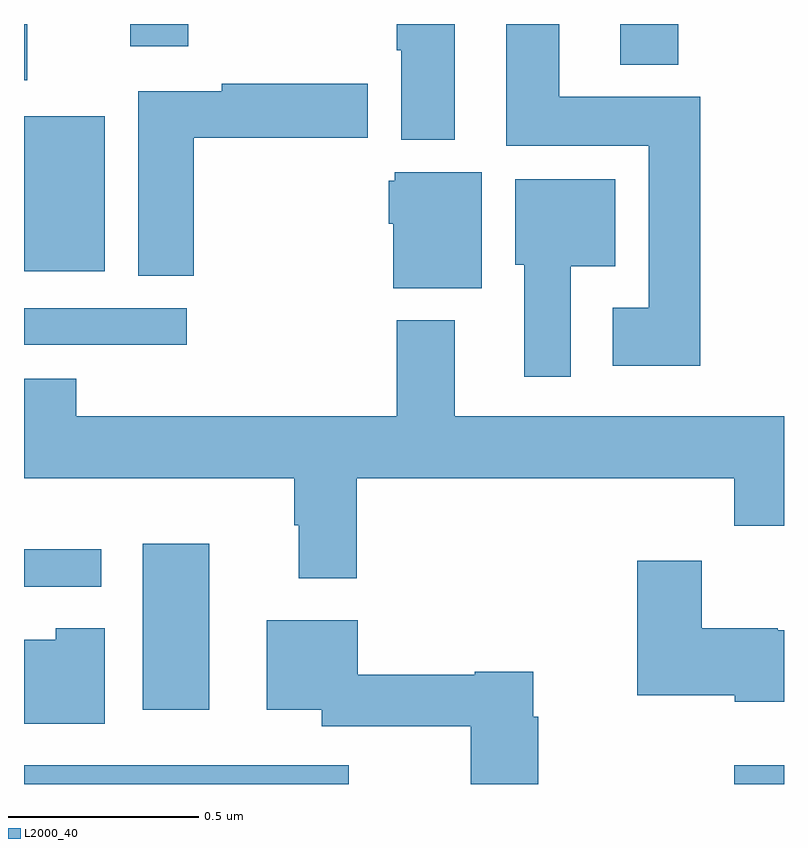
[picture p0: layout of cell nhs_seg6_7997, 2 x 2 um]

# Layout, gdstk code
import gdstk
lib = gdstk.Library(unit=1e-6, precision=1e-09)
def R(c, l, rs):  # rectangles x0, y0, x1, y1
    for r in rs: c.add(gdstk.rectangle(r[:2], r[2:], *l))
def P(c, l, *ps):  # polygons
    for p in ps: c.add(gdstk.Polygon(p, *l))
L2000_40 = (2000, 40)

nhs_seg6_7997 = lib.new_cell('nhs_seg6_7997')
R(nhs_seg6_7997, L2000_40, [(216.869,978.5,217,978.55), (215.312,978.695,215.488,979.132), (215,979.019,215.203,979.118), (215,979.656,215.428,979.752), (215,979.85,215.212,980.257), (215,980.352,215.008,980.5), (216.569,980.393,216.722,980.5), (215.279,980.442,215.432,980.5)])
P(nhs_seg6_7997, L2000_40, [(216.133,980.5),(215.981,980.5),(215.981,980.431),(215.993,980.431),(215.993,980.195),(216.133,980.195)],
  [(216.779,980.308),(216.409,980.308),(216.409,980.5),(216.269,980.5),(216.269,980.18),(216.644,980.18),(216.644,979.753),(216.549,979.753),(216.549,979.601),(216.779,979.601)],
  [(215.447,980.201),(215.905,980.201),(215.905,980.343),(215.52,980.343),(215.52,980.323),(215.3,980.323),(215.3,979.837),(215.447,979.837)],
  [(216.205,980.11),(215.976,980.11),(215.976,980.088),(215.96,980.088),(215.96,979.974),(215.972,979.974),(215.972,979.805),(216.205,979.805)],
  [(216.439,979.862),(216.556,979.862),(216.556,980.092),(216.293,980.092),(216.293,979.866),(216.317,979.866),(216.317,979.572),(216.439,979.572)],
  [(215.876,979.304),(216.869,979.304),(216.869,979.18),(217,979.18),(217,979.468),(216.133,979.468),(216.133,979.72),(215.981,979.72),(215.981,979.468),(215.138,979.468),(215.138,979.567),(215,979.567),(215,979.304),(215.711,979.304),(215.711,979.181),(215.723,979.181),(215.723,979.041),(215.876,979.041)],
  [(217,978.904),(216.984,978.904),(216.984,978.91),(216.784,978.91),(216.784,979.087),(216.614,979.087),(216.614,978.734),(216.87,978.734),(216.87,978.716),(217,978.716)],
  [(216.353,978.677),(216.34,978.677),(216.34,978.796),(216.186,978.796),(216.186,978.788),(215.878,978.788),(215.878,978.931),(215.639,978.931),(215.639,978.695),(215.784,978.695),(215.784,978.652),(216.175,978.652),(216.175,978.5),(216.353,978.5)],
  [(215.212,978.91),(215.083,978.91),(215.083,978.88),(215,978.88),(215,978.659),(215.212,978.659)],
  [(215.854,978.55),(215.316,978.55),(215.316,978.549),(215,978.549),(215,978.5),(215.854,978.5)])

lib.write_gds('nhs_seg6_7997.gds')
